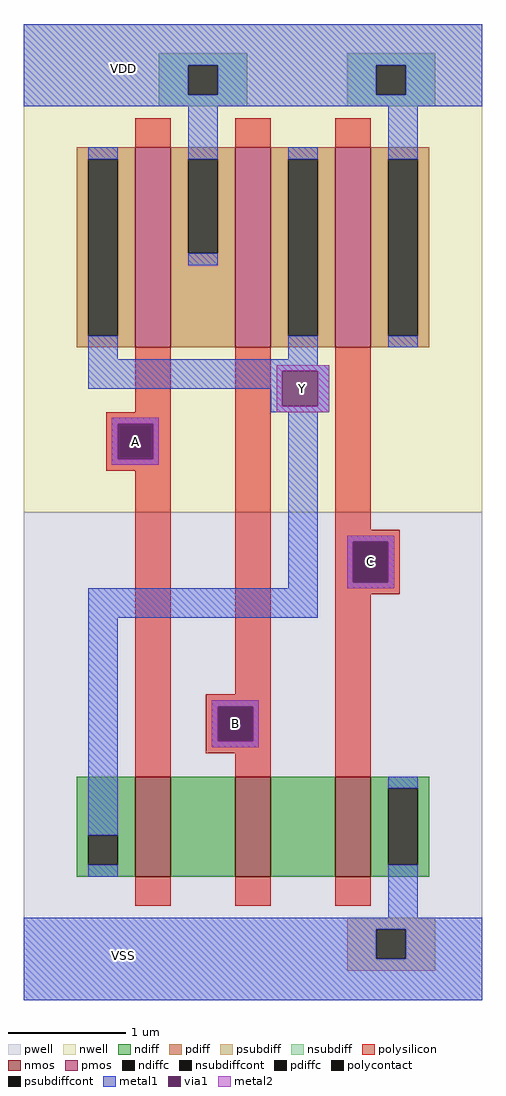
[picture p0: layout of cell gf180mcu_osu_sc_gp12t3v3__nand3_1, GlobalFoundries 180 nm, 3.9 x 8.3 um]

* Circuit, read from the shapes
.subckt gf180mcu_osu_sc_gp12t3v3__nand3_1 A B Y C VDD VSS
XM1 n1 A Y VSS nfet_03v3 w=0.85u l=0.3u
XM2 n2 B n1 VSS nfet_03v3 w=0.85u l=0.3u
XM3 VSS C n2 VSS nfet_03v3 w=0.85u l=0.3u
XM4 VDD A Y VDD pfet_03v3 w=1.7u l=0.3u
XM5 Y B VDD VDD pfet_03v3 w=1.7u l=0.3u
XM6 VDD C Y VDD pfet_03v3 w=1.7u l=0.3u
.ends

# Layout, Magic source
magic
tech gf180mcuD
<< nwell >>
rect -17 83 61 166
<< pwell >>
rect -17 0 61 83
<< nmos >>
rect 2 21 8 38
rect 19 21 25 38
rect 36 21 42 38
<< pmos >>
rect 2 111 8 145
rect 19 111 25 145
rect 36 111 42 145
<< ndiff >>
rect -8 28 2 38
rect -8 23 -6 28
rect -1 23 2 28
rect -8 21 2 23
rect 8 21 19 38
rect 25 21 36 38
rect 42 36 52 38
rect 42 23 45 36
rect 50 23 52 36
rect 42 21 52 23
<< pdiff >>
rect -8 143 2 145
rect -8 113 -6 143
rect -1 113 2 143
rect -8 111 2 113
rect 8 143 19 145
rect 8 127 11 143
rect 16 127 19 143
rect 8 111 19 127
rect 25 143 36 145
rect 25 113 28 143
rect 33 113 36 143
rect 25 111 36 113
rect 42 143 52 145
rect 42 113 45 143
rect 50 113 52 143
rect 42 111 52 113
<< ndiffc >>
rect -6 23 -1 28
rect 45 23 50 36
<< pdiffc >>
rect -6 113 -1 143
rect 11 127 16 143
rect 28 113 33 143
rect 45 113 50 143
<< psubdiff >>
rect 38 12 53 14
rect 38 7 43 12
rect 48 7 53 12
rect 38 5 53 7
<< nsubdiff >>
rect 6 159 21 161
rect 6 154 11 159
rect 16 154 21 159
rect 6 152 21 154
rect 38 159 53 161
rect 38 154 43 159
rect 48 154 53 159
rect 38 152 53 154
<< psubdiffcont >>
rect 43 7 48 12
<< nsubdiffcont >>
rect 11 154 16 159
rect 43 154 48 159
<< polysilicon >>
rect 2 145 8 150
rect 19 145 25 150
rect 36 145 42 150
rect 2 100 8 111
rect -3 98 8 100
rect -3 92 -1 98
rect 5 92 8 98
rect -3 90 8 92
rect 2 38 8 90
rect 19 52 25 111
rect 14 50 25 52
rect 14 44 16 50
rect 22 44 25 50
rect 14 42 25 44
rect 19 38 25 42
rect 36 80 42 111
rect 36 78 47 80
rect 36 71 39 78
rect 45 71 47 78
rect 36 69 47 71
rect 36 38 42 69
rect 2 16 8 21
rect 19 16 25 21
rect 36 16 42 21
<< polycontact >>
rect -1 92 5 98
rect 16 44 22 50
rect 39 71 45 78
<< metal1 >>
rect -17 159 61 166
rect -17 154 11 159
rect 16 154 43 159
rect 48 154 61 159
rect -17 152 61 154
rect -6 143 -1 145
rect 11 143 16 152
rect 11 125 16 127
rect 28 143 33 145
rect -6 109 -1 113
rect 28 109 33 113
rect 45 143 50 152
rect 45 111 50 113
rect -6 108 33 109
rect -6 107 35 108
rect -6 104 27 107
rect 25 101 27 104
rect 33 101 35 107
rect 25 100 35 101
rect -2 98 6 99
rect -2 92 -1 98
rect 5 92 6 98
rect -2 91 6 92
rect 28 70 33 100
rect 38 78 46 79
rect 38 71 39 78
rect 45 71 46 78
rect 38 70 46 71
rect -6 65 33 70
rect -6 28 -1 65
rect 15 50 23 51
rect 15 44 16 50
rect 22 44 23 50
rect 15 43 23 44
rect -6 21 -1 23
rect 45 36 50 38
rect 45 14 50 23
rect -17 12 61 14
rect -17 7 43 12
rect 48 7 61 12
rect -17 0 61 7
<< via1 >>
rect 27 101 33 107
rect -1 92 5 98
rect 39 71 45 78
rect 16 44 22 50
<< metal2 >>
rect 26 107 35 108
rect 26 101 27 107
rect 33 101 35 107
rect 26 100 35 101
rect -2 98 6 99
rect -2 92 -1 98
rect 5 92 6 98
rect -2 91 6 92
rect 38 78 46 79
rect 38 71 39 78
rect 45 71 46 78
rect 38 70 46 71
rect 15 50 23 51
rect 15 44 16 50
rect 22 44 23 50
rect 15 43 23 44
<< labels >>
flabel metal2 -2 91 6 99 0 FreeSans 48 0 0 0 A
port 1 nsew
flabel metal2 15 43 23 51 0 FreeSans 48 0 0 0 B
port 2 nsew
flabel metal2 26 100 35 108 0 FreeSans 48 0 0 0 Y
port 3 nsew
flabel metal2 38 70 46 79 0 FreeSans 48 0 0 0 C
port 4 nsew
flabel metal1 -6 155 6 162 0 FreeSans 48 0 0 0 VDD
port 5 nsew
flabel metal1 -6 4 6 11 0 FreeSans 48 0 0 0 VSS
port 6 nsew
<< properties >>
string FIXED_BBOX -17 0 61 166
<< end >>
